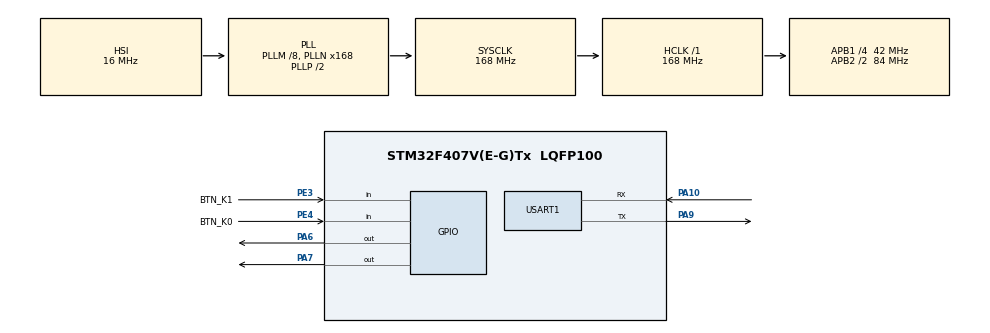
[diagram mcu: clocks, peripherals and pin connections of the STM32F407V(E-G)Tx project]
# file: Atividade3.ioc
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FREERTOS.BinarySemaphores01=sensorSem,Dynamic,NULL,Depleted
FREERTOS.Queues01=filaSensor,1,uint16_t,0,Dynamic,NULL,NULL
FREERTOS.Tasks01=TaskSensor,24,128,TaskSensor_fun,Default,NULL,Dynamic,NULL,NULL;TaskProcessamen,24,128,TaskProcessamento_fun,Default,NULL,Dynamic,NULL,NULL
Mcu.Family=STM32F4
Mcu.Name=STM32F407V(E-G)Tx
Mcu.Package=LQFP100
NVIC.PriorityGroup=NVIC_PRIORITYGROUP_4
NVIC.TIM1_UP_TIM10_IRQn=true\:15\:0\:false\:false\:true\:false\:false\:true\:true
NVIC.TimeBase=TIM1_UP_TIM10_IRQn
NVIC.TimeBaseIP=TIM1
PA10.Mode=Asynchronous
PA10.Signal=USART1_RX
PA6.Signal=GPIO_Output
PA7.Signal=GPIO_Output
PA9.Mode=Asynchronous
PA9.Signal=USART1_TX
PE3.GPIO_Label=BTN_K1
PE3.GPIO_PuPd=GPIO_PULLUP
PE3.Signal=GPIO_Input
PE4.GPIO_Label=BTN_K0
PE4.GPIO_PuPd=GPIO_PULLUP
PE4.Signal=GPIO_Input
ProjectManager.HeapSize=0x200
ProjectManager.StackSize=0x400
ProjectManager.TargetToolchain=STM32CubeIDE
RCC.48MHZClocksFreq_Value=84000000
RCC.AHBFreq_Value=168000000
RCC.APB1CLKDivider=RCC_HCLK_DIV4
RCC.APB1Freq_Value=42000000
RCC.APB1TimFreq_Value=84000000
RCC.APB2CLKDivider=RCC_HCLK_DIV2
RCC.APB2Freq_Value=84000000
RCC.APB2TimFreq_Value=168000000
RCC.CortexFreq_Value=168000000
RCC.HCLKFreq_Value=168000000
RCC.HSE_VALUE=25000000
RCC.HSI_VALUE=16000000
RCC.LSE_VALUE=32768
RCC.PLLM=8
RCC.PLLN=168
RCC.SYSCLKFreq_VALUE=168000000
RCC.SYSCLKSource=RCC_SYSCLKSOURCE_PLLCLK
RCC.VCOOutputFreq_Value=336000000
USART1.VirtualMode=VM_ASYNC
VP_FREERTOS_VS_CMSIS_V2.Mode=CMSIS_V2
VP_SYS_VS_tim1.Mode=TIM1
board=custom

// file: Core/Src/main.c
/* USER CODE BEGIN Header */
/**
  ******************************************************************************
  * @file           : main.c
  * @brief          : Main program body
  ******************************************************************************
  * @attention
  *
  * Copyright (c) 2026 STMicroelectronics.
  * All rights reserved.
  *
  * This software is licensed under terms that can be found in the LICENSE file
  * in the root directory of this software component.
  * If no LICENSE file comes with this software, it is provided AS-IS.
  *
  ******************************************************************************
  */
/* USER CODE END Header */
#include "main.h"
#include "cmsis_os.h"

/* USER CODE BEGIN Includes */
#include <stdio.h>
/* USER CODE END Includes */

UART_HandleTypeDef huart1;

/* Definitions for TaskSensor */
osThreadId_t TaskSensorHandle;
const osThreadAttr_t TaskSensor_attributes = {
  .name = "TaskSensor",
  .stack_size = 128 * 4,
  .priority = (osPriority_t) osPriorityNormal,
};
/* Definitions for TaskProcessamen */
osThreadId_t TaskProcessamenHandle;
const osThreadAttr_t TaskProcessamen_attributes = {
  .name = "TaskProcessamen",
  .stack_size = 128 * 4,
  .priority = (osPriority_t) osPriorityNormal,
};
/* Definitions for filaSensor */
osMessageQueueId_t filaSensorHandle;
const osMessageQueueAttr_t filaSensor_attributes = {
  .name = "filaSensor"
};
/* Definitions for sensorSem */
osSemaphoreId_t sensorSemHandle;
const osSemaphoreAttr_t sensorSem_attributes = {
  .name = "sensorSem"
};

void SystemClock_Config(void);
static void MX_GPIO_Init(void);
static void MX_USART1_UART_Init(void);
void TaskSensor_fun(void *argument);
void TaskProcessamento_fun(void *argument);

int main(void)
{

  /* MCU Configuration--------------------------------------------------------*/

  /* Reset of all peripherals, Initializes the Flash interface and the Systick. */
  HAL_Init();

  /* Configure the system clock */
  SystemClock_Config();

  /* Initialize all configured peripherals */
  MX_GPIO_Init();
  MX_USART1_UART_Init();

  /* Init scheduler */
  osKernelInitialize();

  /* Create the semaphores(s) */
  /* creation of sensorSem */
  sensorSemHandle = osSemaphoreNew(1, 0, &sensorSem_attributes);

  /* Create the queue(s) */
  /* creation of filaSensor */
  filaSensorHandle = osMessageQueueNew (1, sizeof(uint16_t), &filaSensor_attributes);

  /* Create the thread(s) */
  /* creation of TaskSensor */
  TaskSensorHandle = osThreadNew(TaskSensor_fun, NULL, &TaskSensor_attributes);

  /* creation of TaskProcessamen */
  TaskProcessamenHandle = osThreadNew(TaskProcessamento_fun, NULL, &TaskProcessamen_attributes);

  /* Start scheduler */
  osKernelStart();

  /* We should never get here as control is now taken by the scheduler */

  /* Infinite loop */
  while (1)
  {

  }
}

void SystemClock_Config(void)
{
  RCC_OscInitTypeDef RCC_OscInitStruct = {0};
  RCC_ClkInitTypeDef RCC_ClkInitStruct = {0};

  /** Configure the main internal regulator output voltage
  */
  __HAL_RCC_PWR_CLK_ENABLE();
  __HAL_PWR_VOLTAGESCALING_CONFIG(PWR_REGULATOR_VOLTAGE_SCALE1);

  /** Initializes the RCC Oscillators according to the specified parameters
  * in the RCC_OscInitTypeDef structure.
  */
  RCC_OscInitStruct.OscillatorType = RCC_OSCILLATORTYPE_HSI;
  RCC_OscInitStruct.HSIState = RCC_HSI_ON;
  RCC_OscInitStruct.HSICalibrationValue = RCC_HSICALIBRATION_DEFAULT;
  RCC_OscInitStruct.PLL.PLLState = RCC_PLL_ON;
  RCC_OscInitStruct.PLL.PLLSource = RCC_PLLSOURCE_HSI;
  RCC_OscInitStruct.PLL.PLLM = 8;
  RCC_OscInitStruct.PLL.PLLN = 168;
  RCC_OscInitStruct.PLL.PLLP = RCC_PLLP_DIV2;
  RCC_OscInitStruct.PLL.PLLQ = 4;
  if (HAL_RCC_OscConfig(&RCC_OscInitStruct) != HAL_OK)
  {
    Error_Handler();
  }

  /** Initializes the CPU, AHB and APB buses clocks
  */
  RCC_ClkInitStruct.ClockType = RCC_CLOCKTYPE_HCLK|RCC_CLOCKTYPE_SYSCLK
                              |RCC_CLOCKTYPE_PCLK1|RCC_CLOCKTYPE_PCLK2;
  RCC_ClkInitStruct.SYSCLKSource = RCC_SYSCLKSOURCE_PLLCLK;
  RCC_ClkInitStruct.AHBCLKDivider = RCC_SYSCLK_DIV1;
  RCC_ClkInitStruct.APB1CLKDivider = RCC_HCLK_DIV4;
  RCC_ClkInitStruct.APB2CLKDivider = RCC_HCLK_DIV2;

  if (HAL_RCC_ClockConfig(&RCC_ClkInitStruct, FLASH_LATENCY_5) != HAL_OK)
  {
    Error_Handler();
  }
}

static void MX_USART1_UART_Init(void)
{

  huart1.Instance = USART1;
  huart1.Init.BaudRate = 115200;
  huart1.Init.WordLength = UART_WORDLENGTH_8B;
  huart1.Init.StopBits = UART_STOPBITS_1;
  huart1.Init.Parity = UART_PARITY_NONE;
  huart1.Init.Mode = UART_MODE_TX_RX;
  huart1.Init.HwFlowCtl = UART_HWCONTROL_NONE;
  huart1.Init.OverSampling = UART_OVERSAMPLING_16;
  if (HAL_UART_Init(&huart1) != HAL_OK)
  {
    Error_Handler();
  }

}

static void MX_GPIO_Init(void)
{
  GPIO_InitTypeDef GPIO_InitStruct = {0};

  /* GPIO Ports Clock Enable */
  __HAL_RCC_GPIOE_CLK_ENABLE();
  __HAL_RCC_GPIOA_CLK_ENABLE();

  /*Configure GPIO pin Output Level */
  HAL_GPIO_WritePin(GPIOA, GPIO_PIN_6|GPIO_PIN_7, GPIO_PIN_RESET);

  /*Configure GPIO pins : BTN_K1_Pin BTN_K0_Pin */
  GPIO_InitStruct.Pin = BTN_K1_Pin|BTN_K0_Pin;
  GPIO_InitStruct.Mode = GPIO_MODE_INPUT;
  GPIO_InitStruct.Pull = GPIO_PULLUP;
  HAL_GPIO_Init(GPIOE, &GPIO_InitStruct);

  /*Configure GPIO pins : PA6 PA7 */
  GPIO_InitStruct.Pin = GPIO_PIN_6|GPIO_PIN_7;
  GPIO_InitStruct.Mode = GPIO_MODE_OUTPUT_PP;
  GPIO_InitStruct.Pull = GPIO_NOPULL;
  GPIO_InitStruct.Speed = GPIO_SPEED_FREQ_LOW;
  HAL_GPIO_Init(GPIOA, &GPIO_InitStruct);

}

/* USER CODE BEGIN 4 */
int _write(int file, char *ptr, int len) {
    // Transmite os dados recebidos pelo printf via UART
    HAL_UART_Transmit(&huart1, (uint8_t*)ptr, len, HAL_MAX_DELAY);
    return len;
}
/* USER CODE END 4 */

void TaskSensor_fun(void *argument)
{
  /* USER CODE BEGIN 5 */
  uint8_t valor_sensor = 0;
  /* Infinite loop */
  for(;;)
  {
    if(HAL_GPIO_ReadPin(BTN_K1_GPIO_Port, BTN_K1_Pin)){
    	valor_sensor = 1;
    }
    else valor_sensor = 0;

    osMessageQueuePut(filaSensorHandle, &valor_sensor, 0, 0);
	uint32_t tick_atual = osKernelGetTickCount();
	printf("[%lu ms] TaskSensor: Enviado valor %d\r\n", tick_atual, valor_sensor);
	osSemaphoreRelease(sensorSemHandle);

    osDelay(100);
  }
  /* USER CODE END 5 */
}

void TaskProcessamento_fun(void *argument)
{
  /* USER CODE BEGIN TaskProcessamento_fun */
  uint8_t valor_recebido = 0;
  /* Infinite loop */
  for(;;)
  {

      osMessageQueueGet(filaSensorHandle, &valor_recebido, NULL, 0);
  	  uint32_t tick_atual = osKernelGetTickCount();
  	  printf("[%lu ms] TaskProcessamento: Recebido valor: %d\r\n", tick_atual, valor_recebido);
  	  osSemaphoreAcquire(sensorSemHandle, osWaitForever);

  }
  /* USER CODE END TaskProcessamento_fun */
}

void HAL_TIM_PeriodElapsedCallback(TIM_HandleTypeDef *htim)
{
  if (htim->Instance == TIM1)
  {
    HAL_IncTick();
  }
}

void Error_Handler(void)
{
  __disable_irq();
  while (1)
  {
  }
}
